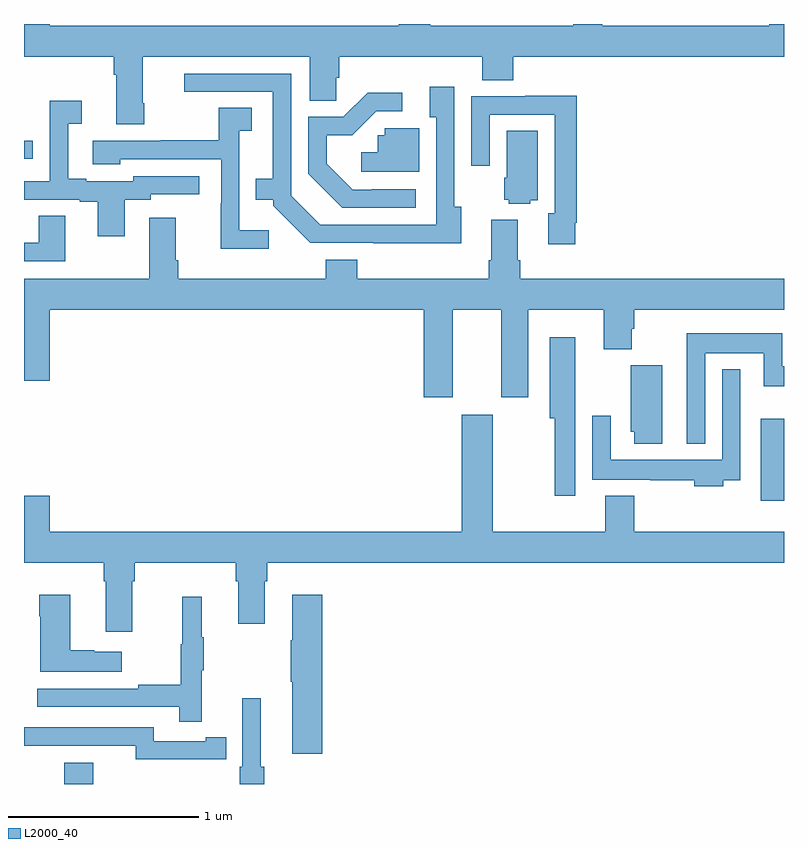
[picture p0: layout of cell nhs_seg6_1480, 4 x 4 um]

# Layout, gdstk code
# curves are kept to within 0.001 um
import gdstk
lib = gdstk.Library(unit=1e-6, precision=1e-09)
def R(c, l, rs):  # rectangles x0, y0, x1, y1
    for r in rs: c.add(gdstk.rectangle(r[:2], r[2:], *l))
def P(c, l, *ps):  # polygons
    for p in ps: c.add(gdstk.Polygon(p, *l))
L2000_40 = (2000, 40)

nhs_seg6_1480 = lib.new_cell('nhs_seg6_1480')
R(nhs_seg6_1480, L2000_40, [(201.212,951.5,201.364,951.613), (204.878,952.992,205,953.422), (201,954.79,201.046,954.885)])
P(nhs_seg6_1480, L2000_40, [(201.633,955.084),(201.625,955.084),(201.625,955.328),(202.505,955.328),(202.505,955.096),(202.643,955.096),(202.643,955.218),(202.658,955.218),(202.658,955.328),(203.411,955.328),(203.411,955.204),(203.576,955.204),(203.576,955.328),(205,955.328),(205,955.5),(204.923,955.5),(204.923,955.492),(204.043,955.492),(204.043,955.5),(203.891,955.5),(203.891,955.492),(203.138,955.492),(203.138,955.5),(202.973,955.5),(202.973,955.492),(201.136,955.492),(201.136,955.5),(201,955.5),(201,955.328),(201.473,955.328),(201.473,955.232),(201.485,955.232),(201.485,954.972),(201.633,954.972)],
  [(203.302,954.538),(203.265,954.538),(203.265,955.171),(203.135,955.171),(203.135,955.01),(203.169,955.01),(203.169,954.444),(202.56,954.444),(202.407,954.597),(202.407,955.239),(201.843,955.239),(201.843,955.143),(202.31,955.143),(202.31,954.685),(202.219,954.685),(202.219,954.575),(202.311,954.575),(202.311,954.543),(202.506,954.348),(203.302,954.347)],
  [(203.062,954.63),(202.831,954.63),(202.831,954.627),(202.731,954.627),(202.594,954.764),(202.594,954.914),(202.727,954.914),(202.854,955.041),(202.99,955.041),(202.99,955.139),(202.808,955.139),(202.68,955.011),(202.497,955.011),(202.497,954.713),(202.676,954.534),(203.062,954.534)],
  [(203.902,954.454),(203.909,954.454),(203.909,955.123),(203.639,955.123),(203.639,955.119),(203.355,955.119),(203.355,954.753),(203.451,954.753),(203.451,955.023),(203.793,955.023),(203.793,954.503),(203.759,954.503),(203.759,954.342),(203.902,954.342)],
  [(201.529,954.576),(201.666,954.576),(201.666,954.603),(201.922,954.603),(201.922,954.699),(201.576,954.699),(201.576,954.672),(201.328,954.672),(201.328,954.685),(201.232,954.685),(201.232,954.976),(201.304,954.976),(201.304,955.096),(201.135,955.096),(201.135,954.672),(201,954.672),(201,954.576),(201.293,954.576),(201.293,954.564),(201.389,954.564),(201.389,954.384),(201.529,954.384)],
  [(202.288,954.415),(202.134,954.415),(202.134,954.937),(202.198,954.937),(202.198,955.058),(202.026,955.058),(202.026,954.888),(201.721,954.888),(201.721,954.885),(201.363,954.885),(201.363,954.761),(201.507,954.761),(201.507,954.789),(202.038,954.789),(202.038,954.557),(202.036,954.557),(202.036,954.317),(202.288,954.317)],
  [(203.08,954.951),(202.899,954.951),(202.899,954.915),(202.863,954.915),(202.863,954.826),(202.776,954.826),(202.776,954.723),(203.08,954.723)],
  [(203.664,954.572),(203.704,954.572),(203.704,954.938),(203.54,954.938),(203.54,954.69),(203.528,954.69),(203.528,954.576),(203.55,954.576),(203.55,954.554),(203.664,954.554)],
  [(201.217,954.491),(201.077,954.491),(201.077,954.348),(201,954.348),(201,954.252),(201.217,954.252)],
  [(203.257,953.996),(203.513,953.996),(203.513,953.535),(203.653,953.535),(203.653,953.996),(204.052,953.996),(204.052,953.788),(204.199,953.788),(204.199,953.897),(204.212,953.897),(204.212,953.996),(205,953.996),(205,954.16),(203.612,954.16),(203.612,954.256),(203.599,954.256),(203.599,954.469),(203.459,954.469),(203.459,954.256),(203.447,954.256),(203.447,954.16),(202.754,954.16),(202.754,954.259),(202.589,954.259),(202.589,954.16),(201.812,954.16),(201.812,954.256),(201.799,954.256),(201.799,954.481),(201.659,954.481),(201.659,954.16),(201,954.16),(201,953.622),(201.136,953.622),(201.136,953.996),(203.105,953.996),(203.105,953.535),(203.257,953.535)],
  [(204.585,953.768),(204.894,953.768),(204.894,953.594),(205,953.594),(205,953.698),(204.992,953.698),(204.992,953.872),(204.488,953.872),(204.488,953.291),(204.585,953.291)],
  [(203.901,953.53),(203.902,953.53),(203.902,953.851),(203.768,953.851),(203.768,953.426),(203.793,953.426),(203.793,953.016),(203.901,953.016)],
  [(204.358,953.703),(204.194,953.703),(204.194,953.355),(204.212,953.355),(204.212,953.292),(204.358,953.292)],
  [(204.679,953.1),(204.771,953.1),(204.771,953.683),(204.675,953.683),(204.675,953.206),(204.087,953.206),(204.087,953.437),(203.991,953.437),(203.991,953.102),(204.295,953.102),(204.295,953.1),(204.527,953.1),(204.527,953.066),(204.679,953.066)],
  [(201.571,952.568),(201.584,952.568),(201.584,952.664),(202.115,952.664),(202.115,952.568),(202.127,952.568),(202.127,952.344),(202.267,952.344),(202.267,952.568),(202.28,952.568),(202.28,952.664),(205,952.664),(205,952.828),(204.212,952.828),(204.212,953.017),(204.059,953.017),(204.059,952.828),(203.467,952.828),(203.467,953.443),(203.303,953.443),(203.303,952.828),(201.136,952.828),(201.136,953.017),(201,953.017),(201,952.664),(201.419,952.664),(201.419,952.568),(201.431,952.568),(201.431,952.302),(201.571,952.302)],
  [(201.514,952.195),(201.371,952.195),(201.371,952.205),(201.244,952.205),(201.244,952.495),(201.079,952.495),(201.079,952.382),(201.086,952.382),(201.086,952.091),(201.514,952.091)],
  [(202.571,952.495),(202.412,952.495),(202.412,952.256),(202.405,952.256),(202.405,952.039),(202.412,952.039),(202.412,951.66),(202.571,951.66)],
  [(201.935,952.099),(201.946,952.099),(201.946,952.273),(201.935,952.273),(201.935,952.486),(201.832,952.486),(201.832,952.236),(201.825,952.236),(201.825,952.022),(201.601,952.022),(201.601,952.002),(201.069,952.002),(201.069,951.906),(201.817,951.906),(201.817,951.828),(201.935,951.828)],
  [(202.265,951.592),(202.246,951.592),(202.246,951.952),(202.149,951.952),(202.149,951.592),(202.136,951.592),(202.136,951.5),(202.265,951.5)],
  [(201.956,951.63),(202.064,951.63),(202.064,951.746),(201.956,951.746),(201.956,951.726),(201.684,951.726),(201.684,951.798),(201,951.798),(201,951.701),(201.128,951.701),(201.128,951.702),(201.588,951.702),(201.588,951.629),(201.956,951.629)])

lib.write_gds('nhs_seg6_1480.gds')
